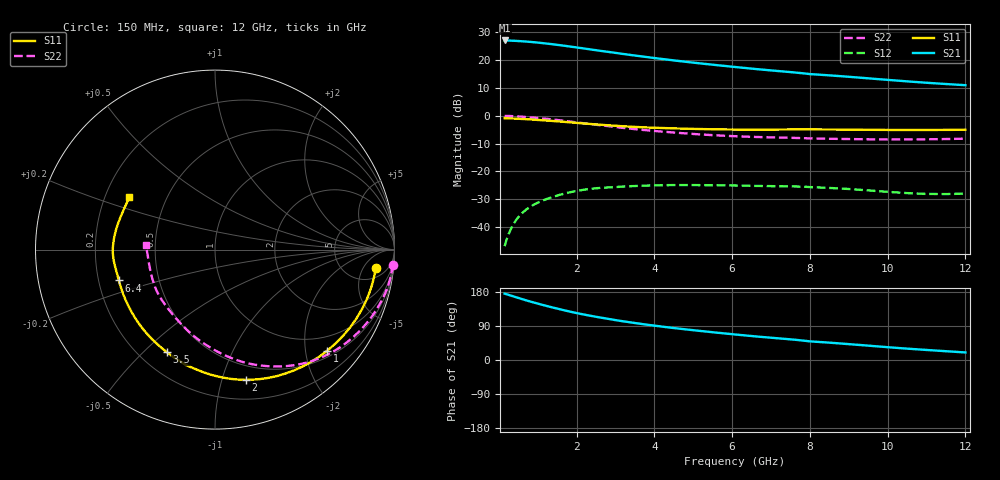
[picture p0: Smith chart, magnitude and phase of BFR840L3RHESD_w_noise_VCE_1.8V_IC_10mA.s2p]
! Infineon Technologies  Discrete & RF Semiconductors
! BFR840L3RHESD
! VCE =  1.8 V,  IC =  10 mA
! Common Emitter S-Parameters:  Jun 2012
# GHz  S  MA  R  50
!  f  S11  S21  S12  S22
! GHz  MAG  ANG  MAG  ANG  MAG  ANG  MAG  ANG
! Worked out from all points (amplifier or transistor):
!   91 points, 150 MHz to 12 GHz, reference 50 ohm
!   highest |S21| = 27.1 dB at 150 MHz (marker M1)
!   |S21| within 3 dB of that: start of sweep to 2.246 GHz
!   unconditionally stable (mu >= 1): 8.389 GHz to end of sweep
!   at 1.3 GHz: K = 0.12, MSG = 27.7 dB, |S12| = -29.6 dB
!   at 4.3 GHz: K = 0.41, MSG = 22.6 dB, |S12| = -25.0 dB
!   at 12 GHz: K = 2.08, MAG = 13.6 dB, |S12| = -28.0 dB
!   lowest NFmin = 0.70 dB at 450 MHz
!   S11 on the Smith chart (normalised r, x): 150 MHz: 9, -10; 1 GHz: 0.64, -2.47; 2 GHz: 0.37, -1.19; 3.5 GHz: 0.31, -0.59; 6.4 GHz: 0.29, -0.14; 12 GHz: 0.30, +0.26
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0.15  0.9012 -6.7  22.68 175.0  0.0045 80.4  0.9937 -4.9
0.3  0.8959 -13.3  22.52 170.3  0.0088 77.8  0.9881 -10.2
0.5  0.8842 -21.8  22.15 163.9  0.0149 74.1  0.9718 -16.8
0.8  0.86 -34.0  21.39 154.6  0.0228 67.9  0.9381 -26.2
1  0.842 -41.9  20.76 148.9  0.0272 63.5  0.9124 -32.1
1.2  0.8234 -49.4  20.06 143.4  0.0312 59.3  0.8848 -37.9
1.5  0.7948 -60.2  18.92 135.7  0.0366 53.5  0.8401 -46.1
1.8  0.7651 -70.4  17.76 128.4  0.0415 48.2  0.793 -53.7
2  0.7452 -76.8  16.98 123.9  0.0444 45.0  0.7617 -58.4
2.2  0.7259 -82.9  16.23 119.8  0.0468 41.9  0.7314 -62.9
2.5  0.6991 -91.3  15.14 114.1  0.0496 38.0  0.6896 -69.2
2.8  0.6758 -98.8  14.17 108.8  0.0513 34.8  0.6524 -75.0
3.1  0.6545 -106.4  13.24 103.7  0.0528 30.9  0.6161 -80.6
3.5  0.6308 -115.3  12.15 97.6  0.0544 27.0  0.5751 -87.4
4.2  0.6028 -128.9  10.53 88.1  0.0563 22.0  0.5192 -98.4
5.1  0.5789 -144.2  8.896 77.6  0.0565 16.9  0.466 -111.3
6.1  0.5648 -158.4  7.523 67.1  0.0556 12.3  0.4281 -124.6
6.4  0.5626 -162.2  7.172 64.2  0.0551 11.2  0.4204 -128.4
8  0.5689 178.2  5.63 49.2  0.0521 5.9  0.3917 -149.7
8.5  0.5664 173.8  5.342 45.8  0.0503 4.8  0.386 -154.2
10.5  0.5553 157.0  4.163 30.0  0.0406 7.6  0.3756 -173.0
12  0.5601 148.5  3.552 19.9  0.0397 19.8  0.3875 176.6
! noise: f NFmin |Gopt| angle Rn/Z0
0.45  0.7  0.31  6  0.16
0.9  0.73  0.31  11  0.15
1.9  0.76  0.33  30  0.15
3.5  0.77  0.32  51  0.14
4  0.79  0.32  60  0.13
5.5  0.82  0.33  74  0.13
7  0.88  0.32  93  0.12
8  0.94  0.3  105  0.11
10  1.04  0.29  125  0.1
12  1.18  0.26  161  0.09
